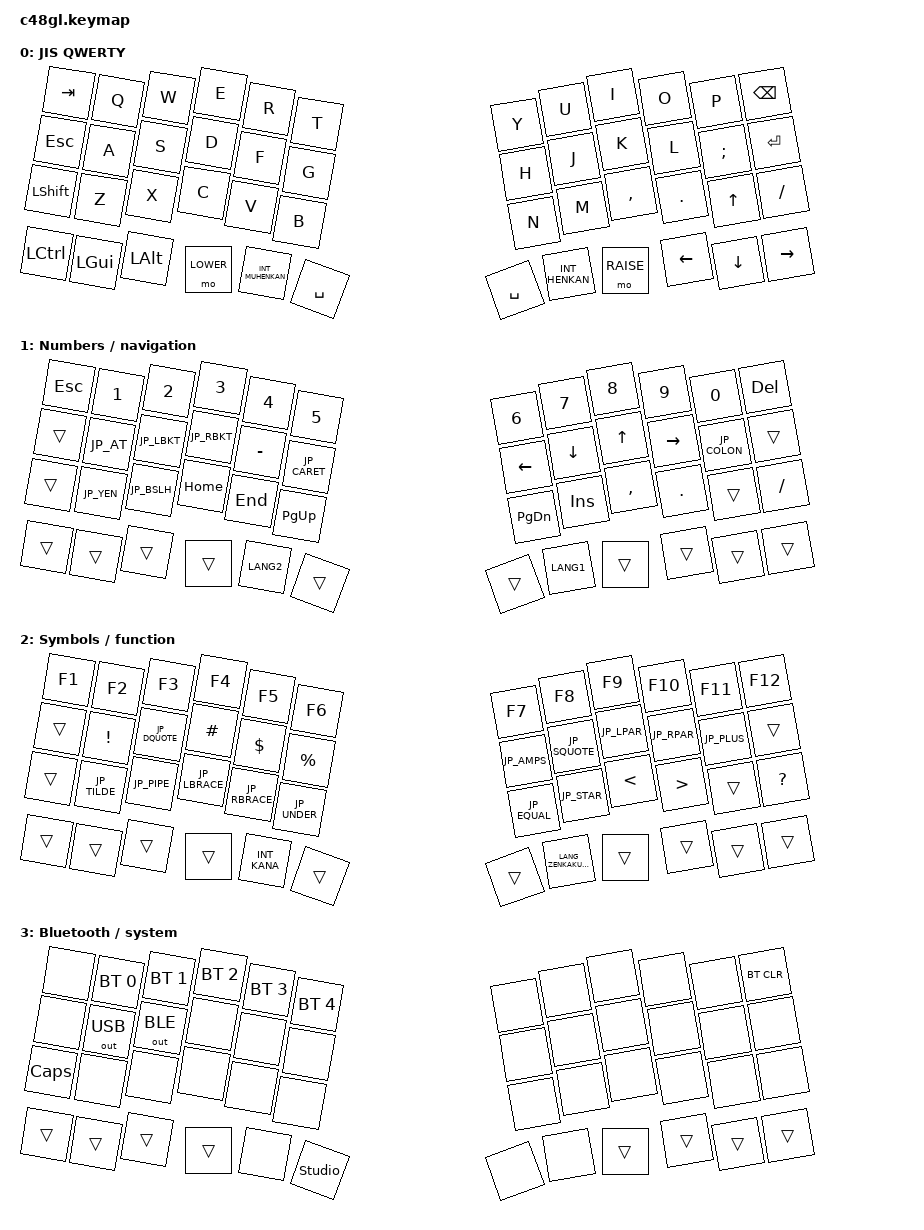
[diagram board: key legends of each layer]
// SPDX-License-Identifier: GPL-2.0-or-later
#include <behaviors.dtsi>
#include <dt-bindings/zmk/keys.h>
#include <dt-bindings/zmk/bt.h>
#include <dt-bindings/zmk/outputs.h>
#include "c48gl-jis.h"

#define BASE 0
#define LOWER 1
#define RAISE 2
#define ADJUST 3

// DYA builds always enable Studio. Kconfig symbols are not available to the
// devicetree preprocessor, so bind studio_unlock directly on this branch.

/ {
    conditional_layers {
        compatible = "zmk,conditional-layers";
        adjust {
            if-layers = <LOWER RAISE>;
            then-layer = <ADJUST>;
        };
    };

    keymap {
        compatible = "zmk,keymap";
        base {
            display-name = "JIS QWERTY";
            bindings = <
                &kp TAB   &kp Q    &kp W    &kp E    &kp R          &kp T    &kp Y    &kp U          &kp I    &kp O    &kp P    &kp BSPC
                &kp ESC   &kp A    &kp S    &kp D    &kp F          &kp G    &kp H    &kp J          &kp K    &kp L    &kp SEMI &kp RET
                &kp LSHFT &kp Z    &kp X    &kp C    &kp V          &kp B    &kp N    &kp M          &kp COMMA &kp DOT &kp UP   &kp SLASH
                &kp LCTRL &kp LGUI &kp LALT &mo LOWER &kp INT_MUHENKAN &kp SPACE &kp SPACE &kp INT_HENKAN &mo RAISE &kp LEFT &kp DOWN &kp RIGHT
            >;
        };
        lower {
            display-name = "Numbers / navigation";
            bindings = <
                &kp ESC   &kp N1   &kp N2   &kp N3   &kp N4        &kp N5   &kp N6   &kp N7        &kp N8   &kp N9   &kp N0   &kp DEL
                &trans    &kp JP_AT &kp JP_LBKT &kp JP_RBKT &kp MINUS &kp JP_CARET &kp LEFT &kp DOWN &kp UP &kp RIGHT &kp JP_COLON &trans
                &trans    &kp JP_YEN &kp JP_BSLH &kp HOME &kp END    &kp PG_UP &kp PG_DN &kp INSERT &kp COMMA &kp DOT &trans &kp SLASH
                &trans    &trans   &trans   &trans   &kp LANG2     &trans   &trans   &kp LANG1     &trans   &trans   &trans   &trans
            >;
        };
        raise {
            display-name = "Symbols / function";
            bindings = <
                &kp F1    &kp F2   &kp F3   &kp F4   &kp F5        &kp F6   &kp F7   &kp F8        &kp F9   &kp F10  &kp F11  &kp F12
                &trans    &kp EXCL &kp JP_DQUOTE &kp HASH &kp DOLLAR &kp PERCENT &kp JP_AMPS &kp JP_SQUOTE &kp JP_LPAR &kp JP_RPAR &kp JP_PLUS &trans
                &trans    &kp JP_TILDE &kp JP_PIPE &kp JP_LBRACE &kp JP_RBRACE &kp JP_UNDER &kp JP_EQUAL &kp JP_STAR &kp LT &kp GT &trans &kp QMARK
                &trans    &trans   &trans   &trans   &kp INT_KANA  &trans   &trans   &kp LANG_ZENKAKUHANKAKU &trans &trans &trans &trans
            >;
        };
        adjust {
            display-name = "Bluetooth / system";
            bindings = <
                &none     &bt BT_SEL 0 &bt BT_SEL 1 &bt BT_SEL 2 &bt BT_SEL 3 &bt BT_SEL 4 &none &none &none &none &none &bt BT_CLR
                &none     &out OUT_USB &out OUT_BLE &none &none &none &none &none &none &none &none &none
                &kp CAPS  &none &none &none &none &none &none &none &none &none &none &none
                &trans    &trans &trans &trans &none &studio_unlock &none &none &trans &trans &trans &trans
            >;
        };
    };
};
